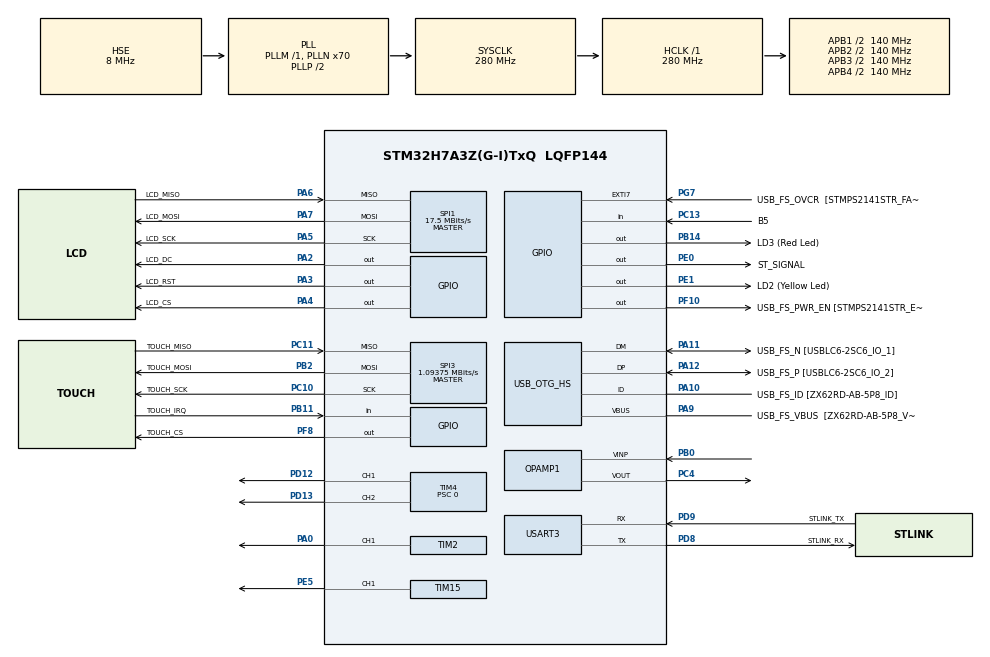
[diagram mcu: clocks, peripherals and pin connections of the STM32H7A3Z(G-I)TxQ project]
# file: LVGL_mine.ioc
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ADC1.Channel-0\#ChannelRegularConversion=ADC_CHANNEL_4
ADC1.ClockPrescaler=ADC_CLOCK_ASYNC_DIV2
ADC1.ContinuousConvMode=DISABLE
ADC1.ConversionDataManagement=ADC_CONVERSIONDATA_DMA_CIRCULAR
ADC1.DiscontinuousConvMode=DISABLE
ADC1.EOCSelection=ADC_EOC_SEQ_CONV
ADC1.ExternalTrigConv=ADC_EXTERNALTRIG_T4_CC4
ADC1.ExternalTrigConvEdge=ADC_EXTERNALTRIGCONVEDGE_RISINGFALLING
ADC1.NbrOfConversionFlag=1
ADC1.OffsetNumber-0\#ChannelRegularConversion=ADC_OFFSET_NONE
ADC1.OffsetSignedSaturation-0\#ChannelRegularConversion=DISABLE
ADC1.Overrun=ADC_OVR_DATA_OVERWRITTEN
ADC1.Rank-0\#ChannelRegularConversion=1
ADC1.Resolution=ADC_RESOLUTION_10B
ADC1.SamplingTime-0\#ChannelRegularConversion=ADC_SAMPLETIME_1CYCLE_5
ADC1.master=1
Dma.ADC1.1.Direction=DMA_PERIPH_TO_MEMORY
Dma.ADC1.1.EventEnable=DISABLE
Dma.ADC1.1.FIFOMode=DMA_FIFOMODE_DISABLE
Dma.ADC1.1.Instance=DMA1_Stream0
Dma.ADC1.1.MemDataAlignment=DMA_MDATAALIGN_HALFWORD
Dma.ADC1.1.MemInc=DMA_MINC_ENABLE
Dma.ADC1.1.Mode=DMA_CIRCULAR
Dma.ADC1.1.PeriphDataAlignment=DMA_PDATAALIGN_HALFWORD
Dma.ADC1.1.PeriphInc=DMA_PINC_DISABLE
Dma.ADC1.1.Polarity=HAL_DMAMUX_REQ_GEN_RISING
Dma.ADC1.1.Priority=DMA_PRIORITY_VERY_HIGH
Dma.ADC1.1.RequestNumber=1
Dma.ADC1.1.SignalID=NONE
Dma.ADC1.1.SyncEnable=DISABLE
Dma.ADC1.1.SyncPolarity=HAL_DMAMUX_SYNC_NO_EVENT
Dma.ADC1.1.SyncRequestNumber=1
Dma.ADC1.1.SyncSignalID=NONE
Dma.Request0=SPI1_TX
Dma.Request1=ADC1
Dma.SPI1_TX.0.Direction=DMA_MEMORY_TO_PERIPH
Dma.SPI1_TX.0.EventEnable=DISABLE
Dma.SPI1_TX.0.FIFOMode=DMA_FIFOMODE_DISABLE
Dma.SPI1_TX.0.Instance=DMA1_Stream3
Dma.SPI1_TX.0.MemDataAlignment=DMA_MDATAALIGN_BYTE
Dma.SPI1_TX.0.MemInc=DMA_MINC_ENABLE
Dma.SPI1_TX.0.Mode=DMA_NORMAL
Dma.SPI1_TX.0.PeriphDataAlignment=DMA_PDATAALIGN_BYTE
Dma.SPI1_TX.0.PeriphInc=DMA_PINC_DISABLE
Dma.SPI1_TX.0.Polarity=HAL_DMAMUX_REQ_GEN_RISING
Dma.SPI1_TX.0.Priority=DMA_PRIORITY_MEDIUM
Dma.SPI1_TX.0.RequestNumber=1
Dma.SPI1_TX.0.SignalID=NONE
Dma.SPI1_TX.0.SyncEnable=DISABLE
Dma.SPI1_TX.0.SyncPolarity=HAL_DMAMUX_SYNC_NO_EVENT
Dma.SPI1_TX.0.SyncRequestNumber=1
Dma.SPI1_TX.0.SyncSignalID=NONE
Mcu.Family=STM32H7
Mcu.Name=STM32H7A3Z(G-I)TxQ
Mcu.Package=LQFP144
Mcu.UserConstants=intTime,100;lowBase,0.000375;LOWdelay,280*88;ARR_clk,280;ppulse,280*(6+intTime);_Length,ppulse+30480;test,1
NVIC.DMA1_Stream0_IRQn=true\:0\:0\:false\:false\:true\:false\:true\:true
NVIC.DMA1_Stream3_IRQn=true\:0\:0\:false\:false\:true\:false\:true\:true
NVIC.PriorityGroup=NVIC_PRIORITYGROUP_4
NVIC.SPI1_IRQn=true\:0\:0\:false\:false\:true\:true\:true\:true
NVIC.SPI3_IRQn=true\:0\:0\:false\:false\:true\:true\:true\:true
NVIC.TIM2_IRQn=true\:0\:0\:false\:false\:true\:true\:true\:true
NVIC.TIM3_IRQn=true\:0\:0\:false\:false\:true\:true\:true\:true
OPAMP1.PowerMode=OPAMP_POWERMODE_HIGHSPEED
OPAMP1.SelfCalibration=Enable
OPAMP1.UserTrimming=OPAMP_TRIMMING_USER
PA0.GPIO_PuPd=GPIO_NOPULL
PA0.GPIO_Speed=GPIO_SPEED_FREQ_VERY_HIGH
PA0.Signal=S_TIM2_CH1_ETR
PA10.GPIO_Label=USB_FS_ID [ZX62RD-AB-5P8_ID]
PA10.Mode=OTG/Dual-Role-Device-FS
PA10.Signal=USB_OTG_HS_ID
PA11.GPIO_Label=USB_FS_N [USBLC6-2SC6_IO_1]
PA11.Mode=OTG/Dual-Role-Device-FS
PA11.Signal=USB_OTG_HS_DM
PA12.GPIO_Label=USB_FS_P [USBLC6-2SC6_IO_2]
PA12.Mode=OTG/Dual-Role-Device-FS
PA12.Signal=USB_OTG_HS_DP
PA2.GPIO_Label=LCD_DC
PA2.GPIO_Speed=GPIO_SPEED_FREQ_VERY_HIGH
PA2.PinState=GPIO_PIN_SET
PA2.Signal=GPIO_Output
PA3.GPIO_Label=LCD_RST
PA3.GPIO_Speed=GPIO_SPEED_FREQ_VERY_HIGH
PA3.PinState=GPIO_PIN_SET
PA3.Signal=GPIO_Output
PA4.GPIO_Label=LCD_CS
PA4.GPIO_Speed=GPIO_SPEED_FREQ_VERY_HIGH
PA4.PinState=GPIO_PIN_SET
PA4.Signal=GPIO_Output
PA5.GPIO_Label=LCD_SCK
PA5.Mode=Full_Duplex_Master
PA5.Signal=SPI1_SCK
PA6.GPIO_Label=LCD_MISO
PA6.Mode=Full_Duplex_Master
PA6.Signal=SPI1_MISO
PA7.GPIO_Label=LCD_MOSI
PA7.Mode=Full_Duplex_Master
PA7.Signal=SPI1_MOSI
PA9.GPIO_Label=USB_FS_VBUS  [ZX62RD-AB-5P8_VBUS]
PA9.Mode=Activate_VBUS_FS
PA9.Signal=USB_OTG_HS_VBUS
PB0.Mode=Follower
PB0.Signal=OPAMP1_VINP
PB11.GPIO_Label=TOUCH_IRQ
PB11.Signal=GPIO_Input
PB14.GPIO_Label=LD3 (Red Led)
PB14.Signal=GPIO_Output
PB2.GPIO_Label=TOUCH_MOSI
PB2.Mode=Full_Duplex_Master
PB2.Signal=SPI3_MOSI
PC10.GPIO_Label=TOUCH_SCK
PC10.Mode=Full_Duplex_Master
PC10.Signal=SPI3_SCK
PC11.GPIO_Label=TOUCH_MISO
PC11.Mode=Full_Duplex_Master
PC11.Signal=SPI3_MISO
PC13.GPIO_Label=B5
PC13.Signal=GPIO_Input
PC14-OSC32_IN.GPIO_Label=OSC32_IN
PC14-OSC32_IN.Mode=LSE-External-Oscillator
PC14-OSC32_IN.Signal=RCC_OSC32_IN
PC15-OSC32_OUT.GPIO_Label=OSC32_OUT
PC15-OSC32_OUT.Mode=LSE-External-Oscillator
PC15-OSC32_OUT.Signal=RCC_OSC32_OUT
PC4.Mode=Follower
PC4.Signal=OPAMP1_VOUT
PD12.GPIO_Speed=GPIO_SPEED_FREQ_VERY_HIGH
PD12.Signal=S_TIM4_CH1
PD13.GPIO_Speed=GPIO_SPEED_FREQ_VERY_HIGH
PD13.Signal=S_TIM4_CH2
PD8.GPIO_Label=STLINK_RX
PD8.Mode=Asynchronous
PD8.Signal=USART3_TX
PD9.GPIO_Label=STLINK_TX
PD9.Mode=Asynchronous
PD9.Signal=USART3_RX
PE0.GPIO_Label=ST_SIGNAL
PE0.GPIO_ModeDefaultOutputPP=GPIO_MODE_OUTPUT_PP
PE0.GPIO_PuPd=GPIO_NOPULL
PE0.GPIO_Speed=GPIO_SPEED_FREQ_VERY_HIGH
PE0.PinState=GPIO_PIN_RESET
PE0.Signal=GPIO_Output
PE1.GPIO_Label=LD2 (Yellow Led)
PE1.PinState=GPIO_PIN_SET
PE1.Signal=GPIO_Output
PE5.Signal=S_TIM15_CH1
PF10.GPIO_Label=USB_FS_PWR_EN [STMPS2141STR_EN]
PF10.Signal=GPIO_Output
PF8.GPIO_Label=TOUCH_CS
PF8.GPIO_Speed=GPIO_SPEED_FREQ_VERY_HIGH
PF8.Signal=GPIO_Output
PG7.GPIO_Label=USB_FS_OVCR  [STMPS2141STR_FAULT]
PG7.Signal=GPXTI7
PH0-OSC_IN.GPIO_Label=PH0-MCU
PH0-OSC_IN.Mode=HSE-External-Clock-Source
PH0-OSC_IN.Signal=RCC_OSC_IN
PH1-OSC_OUT.GPIO_Label=PH1-MCU
PH1-OSC_OUT.Signal=RCC_OSC_OUT
ProjectManager.HeapSize=0x200
ProjectManager.StackSize=0x400
ProjectManager.TargetToolchain=STM32CubeIDE
RCC.ADCFreq_Value=32000000
RCC.APB1Freq_Value=140000000
RCC.APB2Freq_Value=140000000
RCC.APB3Freq_Value=140000000
RCC.APB4Freq_Value=140000000
RCC.CDPPRE=RCC_APB3_DIV2
RCC.CDPPRE1=RCC_APB1_DIV2
RCC.CDPPRE2=RCC_APB2_DIV2
RCC.CortexFreq_Value=280000000
RCC.DIVM1=1
RCC.DIVM2=1
RCC.DIVM3=1
RCC.DIVN1=70
RCC.DIVN2=16
RCC.DIVN3=24
RCC.DIVP2=4
RCC.DIVQ1=4
RCC.HCLKFreq_Value=280000000
RCC.HSE_VALUE=8000000
RCC.PLLFRACN=0
RCC.PLLSourceVirtual=RCC_PLLSOURCE_HSE
RCC.PWR_Regulator_Voltage_Scale=PWR_REGULATOR_VOLTAGE_SCALE0
RCC.SRDPPRE=RCC_APB4_DIV2
RCC.SYSCLKFreq_VALUE=280000000
RCC.SYSCLKSource=RCC_SYSCLKSOURCE_PLLCLK
RCC.SupplySource=PWR_DIRECT_SMPS_SUPPLY
RCC.USBCLockSelection=RCC_USBCLKSOURCE_HSI48
RCC.USBFreq_Value=48000000
SH.S_TIM15_CH1.0=TIM15_CH1,Output Compare1 CH1
SH.S_TIM2_CH1_ETR.0=TIM2_CH1,PWM Generation1 CH1
SH.S_TIM4_CH1.0=TIM4_CH1,PWM Generation1 CH1
SH.S_TIM4_CH2.0=TIM4_CH2,Output Compare2 CH2
SPI1.BaudRatePrescaler=SPI_BAUDRATEPRESCALER_8
SPI1.CalculateBaudRate=17.5 MBits/s
SPI1.DataSize=SPI_DATASIZE_8BIT
SPI1.Direction=SPI_DIRECTION_2LINES
SPI1.Mode=SPI_MODE_MASTER
SPI1.VirtualType=VM_MASTER
SPI3.BaudRatePrescaler=SPI_BAUDRATEPRESCALER_128
SPI3.CalculateBaudRate=1.09375 MBits/s
SPI3.DataSize=SPI_DATASIZE_8BIT
SPI3.Direction=SPI_DIRECTION_2LINES
SPI3.Mode=SPI_MODE_MASTER
SPI3.VirtualType=VM_MASTER
TIM15.Channel-Output\ Compare1\ CH1=TIM_CHANNEL_1
TIM15.OCIdleState_1=TIM_OCIDLESTATE_RESET
TIM15.OCMode_1=TIM_OCMODE_TOGGLE
TIM15.OCPolarity_1=TIM_OCPOLARITY_LOW
TIM15.Period=2-1
TIM15.Pulse-Output\ Compare1\ CH1=1
TIM2.AutoReloadPreload=TIM_AUTORELOAD_PRELOAD_ENABLE
TIM2.Channel-PWM\ Generation1\ CH1=TIM_CHANNEL_1
TIM2.Channel-PWM\ Generation2\ No\ Output=TIM_CHANNEL_2
TIM2.CounterMode=TIM_COUNTERMODE_UP
TIM2.OCMode_PWM-PWM\ Generation1\ CH1=TIM_OCMODE_PWM1
TIM2.OCPolarity_1=TIM_OCPOLARITY_HIGH
TIM2.Period=3400-1
TIM2.Prescaler=0
TIM2.Pulse-PWM\ Generation1\ CH1=3000-1
TIM2.Pulse-PWM\ Generation2\ No\ Output=3086-1
TIM2.TIM_MasterOutputTrigger=TIM_TRGO_OC1
TIM2.TIM_MasterSlaveMode=TIM_MASTERSLAVEMODE_DISABLE
TIM3.Period=5000-1
TIM3.Prescaler=279
TIM4.Channel-Output\ Compare2\ CH2=TIM_CHANNEL_2
TIM4.Channel-Output\ Compare4\ No\ Output=TIM_CHANNEL_4
TIM4.Channel-PWM\ Generation1\ CH1=TIM_CHANNEL_1
TIM4.OC1Preload_PWM=DISABLE
TIM4.OCMode_2=TIM_OCMODE_TOGGLE
TIM4.OCMode_4=TIM_OCMODE_TOGGLE
TIM4.OCPolarity_2=TIM_OCPOLARITY_HIGH
TIM4.Period=280-1
TIM4.Prescaler=0
TIM4.Pulse-Output\ Compare2\ CH2=170-1
TIM4.Pulse-Output\ Compare4\ No\ Output=170-1
TIM4.Pulse-PWM\ Generation1\ CH1=140-1
TIM4.TIM_MasterOutputTrigger=TIM_TRGO_OC1
TIM4.TIM_MasterSlaveMode=TIM_MASTERSLAVEMODE_DISABLE
USART3.VirtualMode-Asynchronous=VM_ASYNC
VP_ADC1_OPAMP1_OUT.Mode=IN4-OPAMP1-Single-Ended
VP_TIM15_VS_ClockSourceITR.Mode=TriggerSource_ITR1
VP_TIM15_VS_ControllerModeClock.Mode=Clock Mode
VP_TIM2_VS_ClockSourceITR.Mode=TriggerSource_ITR3
VP_TIM2_VS_ControllerModeClock.Mode=Clock Mode
VP_TIM2_VS_no_output2.Mode=PWM Generation2 No Output
VP_TIM3_VS_ClockSourceINT.Mode=Internal
VP_TIM4_VS_ClockSourceINT.Mode=Internal
VP_TIM4_VS_no_output4.Mode=Output Compare4 No Output
board=NUCLEO-H7A3ZI-Q

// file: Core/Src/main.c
/* USER CODE BEGIN Header */
/**
  ******************************************************************************
  * @file           : main.c
  * @brief          : Main program body
  ******************************************************************************
  * @attention
  *
  * Copyright (c) 2022 STMicroelectronics.
  * All rights reserved.
  *
  * This software is licensed under terms that can be found in the LICENSE file
  * in the root directory of this software component.
  * If no LICENSE file comes with this software, it is provided AS-IS.
  *
  ******************************************************************************
  */
/* USER CODE END Header */
#include "main.h"
#include "adc.h"
#include "dma.h"
#include "opamp.h"
#include "spi.h"
#include "tim.h"
#include "usart.h"
#include "usb_otg.h"
#include "gpio.h"

/* USER CODE BEGIN Includes */
#include "../../lvgl/lvgl.h"
#include "../../lvgl/hal_stm_lvgl/tft/tft.h"
#include "../../lvgl/hal_stm_lvgl/touch/touchpad.h"
#include "../../lvgl/examples/lv_examples.h"
#include "ui.h"
#include "ui_helpers.h"
/* USER CODE END Includes */

/* USER CODE BEGIN PD */
# define ADC_BUF_L 288
/* USER CODE END PD */

/* USER CODE BEGIN PV */
uint16_t adc_buf[ADC_BUF_L];
uint16_t adc_base = 1290;
bool continous = 1;
bool averaging = 1;
//bool overexposed = false;
bool auto_exposure = true;
uint16_t avg_counter = 0;
uint16_t avg = 50;
uint32_t exptime = 5000;
uint16_t peak_pixel = 0;

float wavelength_converted[288];
/* USER CODE END PV */

void SystemClock_Config(void);
/* USER CODE BEGIN PFP */
void measure (void);

extern void refresh_chart(void);
extern void refresh_chart_y(void);
extern void wavelength_convert(void);
extern void exposure_time (uint32_t st_us);
extern void adc_convert_first(void);
extern void adc_convert_second(void);
extern void averaging_buf(void);
/* USER CODE END PFP */

int main(void)
{

  /* MCU Configuration--------------------------------------------------------*/

  /* Reset of all peripherals, Initializes the Flash interface and the Systick. */
  HAL_Init();

  /* Configure the system clock */
  SystemClock_Config();

  /* Initialize all configured peripherals */
  MX_GPIO_Init();
  MX_USART3_UART_Init();
  MX_DMA_Init();
  MX_USB_OTG_HS_USB_Init();
  MX_SPI1_Init();
  MX_TIM3_Init();
  MX_SPI3_Init();
  MX_TIM2_Init();
  MX_TIM4_Init();
  MX_TIM15_Init();
  MX_ADC1_Init();
  MX_OPAMP1_Init();
  /* USER CODE BEGIN 2 */
  lv_init();
	tft_init();
	touchpad_init();
	HAL_Delay(20);

	HAL_OPAMP_SelfCalibrate(&hopamp1);
	HAL_OPAMP_Start(&hopamp1);

	HAL_ADCEx_Calibration_Start(&hadc1, ADC_CALIB_OFFSET, ADC_SINGLE_ENDED);
	HAL_ADCEx_Calibration_Start(&hadc1, ADC_CALIB_OFFSET_LINEARITY, ADC_SINGLE_ENDED);

	wavelength_convert();

	ui_init();

	HAL_TIM_Base_Start_IT(&htim3);
	HAL_TIM_Base_Start(&htim15);

	HAL_Delay(20);
	HAL_ADC_Start_DMA(&hadc1, (uint32_t*)adc_buf, ADC_BUF_L);

  /* USER CODE END 2 */

  /* Infinite loop */
  /* USER CODE BEGIN WHILE */
  while (1)
  {
  	HAL_Delay(30);
		lv_task_handler();

		if ((HAL_GPIO_ReadPin(GPIOC, B5_Pin)) == 1){
  	    	HAL_Delay(500);
  	    	exposure_time(exptime);
  	    	measure();

		}

    /* USER CODE END WHILE */

  }
}

void SystemClock_Config(void)
{
  RCC_OscInitTypeDef RCC_OscInitStruct = {0};
  RCC_ClkInitTypeDef RCC_ClkInitStruct = {0};

  /*AXI clock gating */
  RCC->CKGAENR = 0xFFFFFFFF;

  /** Supply configuration update enable
  */
  HAL_PWREx_ConfigSupply(PWR_DIRECT_SMPS_SUPPLY);

  /** Configure the main internal regulator output voltage
  */
  __HAL_PWR_VOLTAGESCALING_CONFIG(PWR_REGULATOR_VOLTAGE_SCALE0);

  while(!__HAL_PWR_GET_FLAG(PWR_FLAG_VOSRDY)) {}

  /** Macro to configure the PLL clock source
  */
  __HAL_RCC_PLL_PLLSOURCE_CONFIG(RCC_PLLSOURCE_HSE);

  /** Initializes the RCC Oscillators according to the specified parameters
  * in the RCC_OscInitTypeDef structure.
  */
  RCC_OscInitStruct.OscillatorType = RCC_OSCILLATORTYPE_HSI48|RCC_OSCILLATORTYPE_HSE;
  RCC_OscInitStruct.HSEState = RCC_HSE_BYPASS;
  RCC_OscInitStruct.HSI48State = RCC_HSI48_ON;
  RCC_OscInitStruct.PLL.PLLState = RCC_PLL_ON;
  RCC_OscInitStruct.PLL.PLLSource = RCC_PLLSOURCE_HSE;
  RCC_OscInitStruct.PLL.PLLM = 1;
  RCC_OscInitStruct.PLL.PLLN = 70;
  RCC_OscInitStruct.PLL.PLLP = 2;
  RCC_OscInitStruct.PLL.PLLQ = 4;
  RCC_OscInitStruct.PLL.PLLR = 2;
  RCC_OscInitStruct.PLL.PLLRGE = RCC_PLL1VCIRANGE_3;
  RCC_OscInitStruct.PLL.PLLVCOSEL = RCC_PLL1VCOWIDE;
  RCC_OscInitStruct.PLL.PLLFRACN = 0;
  if (HAL_RCC_OscConfig(&RCC_OscInitStruct) != HAL_OK)
  {
    Error_Handler();
  }

  /** Initializes the CPU, AHB and APB buses clocks
  */
  RCC_ClkInitStruct.ClockType = RCC_CLOCKTYPE_HCLK|RCC_CLOCKTYPE_SYSCLK
                              |RCC_CLOCKTYPE_PCLK1|RCC_CLOCKTYPE_PCLK2
                              |RCC_CLOCKTYPE_D3PCLK1|RCC_CLOCKTYPE_D1PCLK1;
  RCC_ClkInitStruct.SYSCLKSource = RCC_SYSCLKSOURCE_PLLCLK;
  RCC_ClkInitStruct.SYSCLKDivider = RCC_SYSCLK_DIV1;
  RCC_ClkInitStruct.AHBCLKDivider = RCC_HCLK_DIV1;
  RCC_ClkInitStruct.APB3CLKDivider = RCC_APB3_DIV2;
  RCC_ClkInitStruct.APB1CLKDivider = RCC_APB1_DIV2;
  RCC_ClkInitStruct.APB2CLKDivider = RCC_APB2_DIV2;
  RCC_ClkInitStruct.APB4CLKDivider = RCC_APB4_DIV2;

  if (HAL_RCC_ClockConfig(&RCC_ClkInitStruct, FLASH_LATENCY_7) != HAL_OK)
  {
    Error_Handler();
  }
}

/* USER CODE BEGIN 4 */

void HAL_ADC_ConvHalfCpltCallback(ADC_HandleTypeDef *hadc){
	if (averaging == 0){
	adc_convert_first();
	}

}

void HAL_ADC_ConvCpltCallback(ADC_HandleTypeDef* hadc){

	HAL_TIM_OC_Stop(&htim4, TIM_CHANNEL_2);
	HAL_TIM_OC_Stop(&htim4, TIM_CHANNEL_4);
	__HAL_TIM_CLEAR_FLAG(&htim2,TIM_FLAG_CC2);

	if (continous == 0 && (averaging == 0 || avg_counter == avg-1)){
			HAL_TIM_PWM_Stop(&htim4, TIM_CHANNEL_1);
			HAL_TIM_PWM_Stop(&htim2, TIM_CHANNEL_1);
			HAL_TIM_PWM_Stop_IT(&htim2, TIM_CHANNEL_2);
	}

	if (averaging == 1){
		averaging_buf();
	}
	else {
		adc_convert_second();
		refresh_chart_y();
	}
}

void HAL_TIM_PWM_PulseFinishedCallback(TIM_HandleTypeDef *htim)
{

	if(htim->Instance == TIM2){
		if(htim->Channel == HAL_TIM_ACTIVE_CHANNEL_2){
			//	HAL_TIM_PWM_Stop(&htim4, TIM_CHANNEL_1);
						HAL_TIM_OC_Start(&htim4, TIM_CHANNEL_4);
						HAL_TIM_OC_Start(&htim4, TIM_CHANNEL_2);
				//	HAL_TIM_Base_Stop_IT(&htim2);
		}

				}

}

void HAL_TIM_PeriodElapsedCallback(TIM_HandleTypeDef *htim)
{
  /* Prevent unused argument(s) compilation warning */
  UNUSED(htim);

	if(htim->Instance == TIM3)
	{
		lv_tick_inc(5);      /*Tell LVGL that 5 milliseconds were elapsed*/

	}
}

  /* NOTE : This function should not be modified, when the callback is needed,
            the HAL_TIM_PeriodElapsedCallback could be implemented in the user file
   */

void measure (void){
		HAL_TIM_PWM_Init(&htim2);
		HAL_TIM_PWM_Init(&htim4);
		HAL_TIM_PWM_Start(&htim4, TIM_CHANNEL_1);
		HAL_TIM_PWM_Start(&htim2, TIM_CHANNEL_1);
		HAL_TIM_PWM_Start_IT(&htim2, TIM_CHANNEL_2);
}

/* USER CODE END 4 */

void Error_Handler(void)
{
  __disable_irq();
  while (1)
  {
  }
}
